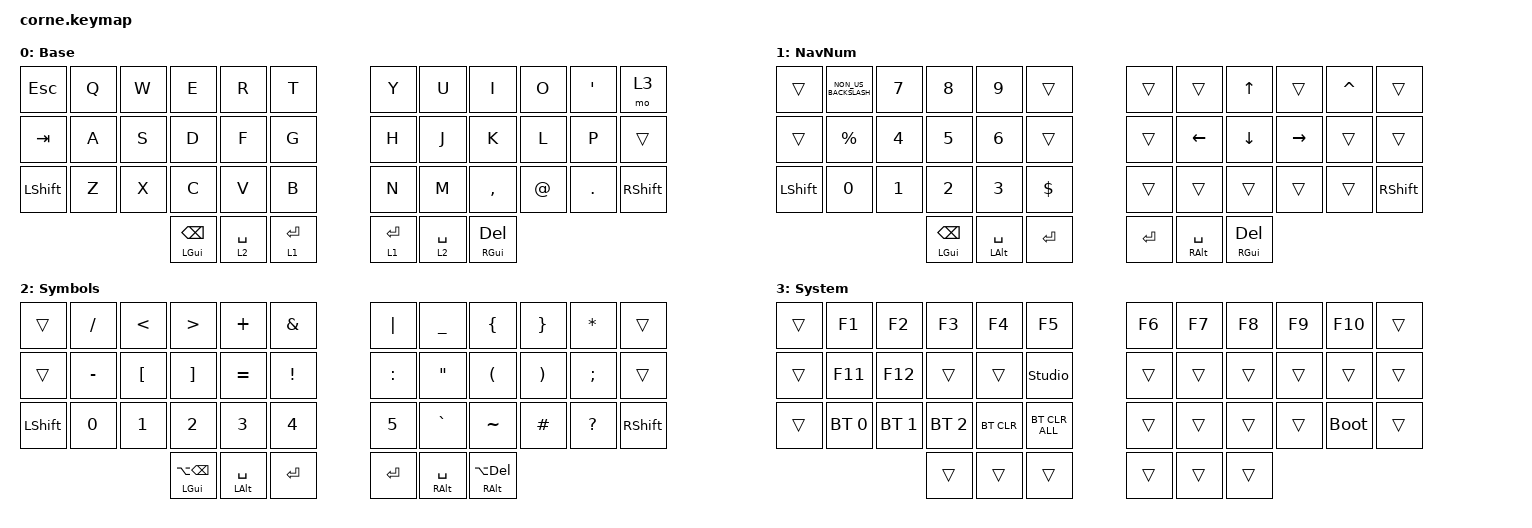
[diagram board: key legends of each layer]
#include <behaviors.dtsi>
#include <dt-bindings/zmk/bt.h>
#include <dt-bindings/zmk/keys.h>

#define DEF 0
#define NAV 1
#define SYM 2
#define ADJ 3
#define EXTRA 4

/ {
    behaviors {
        hm: homerow_mods {
            compatible = "zmk,behavior-hold-tap";
            label = "HOMEROW_MODS";
            #binding-cells = <2>;
            tapping-term-ms = <200>;
            quick_tap_ms = <0>;
            flavor = "tap-preferred";
            bindings = <&kp>, <&kp>;

            quick-tap-ms = <180>;
            global-quick-tap;
        };

        para: para {
            compatible = "zmk,behavior-tap-dance";
            label = "PARA";
            #binding-cells = <0>;
            bindings = <&kp LEFT_PARENTHESIS>, <&kp RIGHT_PARENTHESIS>;
        };

        caps: caps {
            compatible = "zmk,behavior-caps-word";
            label = "CAPS";
            #binding-cells = <0>;
            continue-list = <MINUS BACKSPACE>;
        };

        paraless: paraless {
            compatible = "zmk,behavior-mod-morph";
            label = "PARALESS";
            bindings = <&kp LEFT_PARENTHESIS>, <&kp LESS_THAN>;

            #binding-cells = <0>;
            mods = <(MOD_LSFT)>;
        };

        paragreat: paragreat {
            compatible = "zmk,behavior-mod-morph";
            label = "PARAGREAT";
            bindings = <&kp RIGHT_PARENTHESIS>, <&kp GREATER_THAN>;

            #binding-cells = <0>;
            mods = <(MOD_LSFT)>;
        };
    };

    macros {
        browsertab: browsertab {
            compatible = "zmk,behavior-macro";
            #binding-cells = <0>;
            bindings =
                <&macro_press>,
                <&kp LCTRL>,
                <&macro_tap>,
                <&kp TAB>,
                <&macro_release>,
                <&kp LCTRL>;
        };
    };

    combos { compatible = "zmk,combos"; };

    //

    keymap {
        compatible = "zmk,keymap";

        DEF {
            display-name = "Base";

            // -----------------------------------------------------------------------------------------
            // |  Q  |  W  |  E  |  R  |  T  |   |  Y  |  U   |  I  |  O  |  P  |
            // |  A  |  S  |  D  |  F  |  G  |   |  H  |  J   |  K  |  L  |  ;  |
            // |  Z  |  X  |  C  |  V  |  B  |   |  N  |  M   |  ,  |  .  |  /  |
            // | GUI | CTRL | SHFT | LWR | SPC |   | ENT | RSE  | BKSP | ALT | ESC |

            bindings = <
&kp ESCAPE      &kp Q  &kp W  &kp E               &kp R        &kp T          &kp Y        &kp U        &kp I                 &kp O        &kp APOS  &mo 3
&kp TAB         &kp A  &kp S  &kp D               &kp F        &kp G          &kp H        &kp J        &kp K                 &kp L        &kp P     &trans
&kp LEFT_SHIFT  &kp Z  &kp X  &kp C               &kp V        &kp B          &kp N        &kp M        &kp COMMA             &kp AT_SIGN  &kp DOT   &kp RIGHT_SHIFT
                              &mt LGUI BACKSPACE  &lt 2 SPACE  &lt 1 ENTER    &lt 1 ENTER  &lt 2 SPACE  &mt RIGHT_GUI DELETE
            >;
        };

        NAV {
            display-name = "NavNum";

            // -----------------------------------------------------------------------------------------
            // |  TAB |  1  |  2  |  3  |  4  |  5  |   |  6  |  7  |  8  |  9  |  0  | BKSP |
            // | BTCLR| BT1 | BT2 | BT3 | BT4 | BT5 |   | LFT | DWN |  UP | RGT |     |      |
            // | SHFT |     |     |     |     |     |   |     |     |     |     |     |      |
            // | GUI | CTRL | SHFT | LWR | SPC |   | ENT | RSE  | BKSP | ALT | ESC |

            bindings = <
&trans          &kp NON_US_BACKSLASH  &kp N7        &kp N8                  &kp N9              &trans        &trans   &trans               &kp UP_ARROW          &trans           &kp CARET  &trans
&trans          &kp PERCENT           &kp NUMBER_4  &kp N5                  &kp NUMBER_6        &trans        &trans   &kp LEFT_ARROW       &kp DOWN_ARROW        &kp RIGHT_ARROW  &trans     &trans
&kp LEFT_SHIFT  &kp N0                &kp NUMBER_1  &kp NUMBER_2            &kp NUMBER_3        &kp DOLLAR    &trans   &trans               &trans                &trans           &trans     &kp RIGHT_SHIFT
                                                    &mt LEFT_GUI BACKSPACE  &mt LEFT_ALT SPACE  &kp RET       &kp RET  &mt RIGHT_ALT SPACE  &mt RIGHT_GUI DELETE
            >;
        };

        SYM {
            display-name = "Symbols";

            // -----------------------------------------------------------------------------------------
            // |  TAB |  !  |  @  |  #  |  $  |  %  |   |  ^  |  &  |  *  |  (  |  )  | BKSP |
            // | CTRL |     |     |     |     |     |   |  -  |  =  |  [  |  ]  |  \  |  `   |
            // | SHFT |     |     |     |     |     |   |  _  |  +  |  {  |  }  | "|" |  ~   |
            //                    | GUI |     | SPC |   | ENT |     | ALT |

            bindings = <
&trans          &kp SLASH  &kp LESS_THAN     &kp GREATER_THAN            &kp PLUS            &kp AMPERSAND      &kp PIPE   &kp UNDERSCORE       &kp LEFT_BRACE            &kp RIGHT_BRACE        &kp ASTERISK   &trans
&trans          &kp MINUS  &kp LEFT_BRACKET  &kp RIGHT_BRACKET           &kp EQUAL           &kp EXCLAMATION    &kp COLON  &kp DOUBLE_QUOTES    &kp LEFT_PARENTHESIS      &kp RIGHT_PARENTHESIS  &kp SEMICOLON  &trans
&kp LEFT_SHIFT  &kp N0     &kp NUMBER_1      &kp NUMBER_2                &kp NUMBER_3        &kp NUMBER_4       &kp N5     &kp GRAVE            &kp TILDE                 &kp HASH               &kp QUESTION   &kp RIGHT_SHIFT
                                             &mt LEFT_GUI LA(BACKSPACE)  &mt LEFT_ALT SPACE  &kp RET            &kp RET    &mt RIGHT_ALT SPACE  &mt RIGHT_ALT LA(DELETE)
            >;
        };

        ADJ {
            display-name = "System";
            bindings = <
&trans  &kp F1        &kp F2        &kp F3        &kp F4      &kp F5            &kp F6  &kp F7  &kp F8  &kp F9  &kp F10      &trans
&trans  &kp F11       &kp F12       &trans        &trans      &studio_unlock    &trans  &trans  &trans  &trans  &trans       &trans
&trans  &bt BT_SEL 0  &bt BT_SEL 1  &bt BT_SEL 2  &bt BT_CLR  &bt BT_CLR_ALL    &trans  &trans  &trans  &trans  &bootloader  &trans
                                    &trans        &trans      &trans            &trans  &trans  &trans
            >;
        };
    };

    conditional_layers {
        compatible = "zmk,conditional-layers";

        l3 {
            if-layers = <1 2>;
            then-layer = <3>;
        };
    };
};
